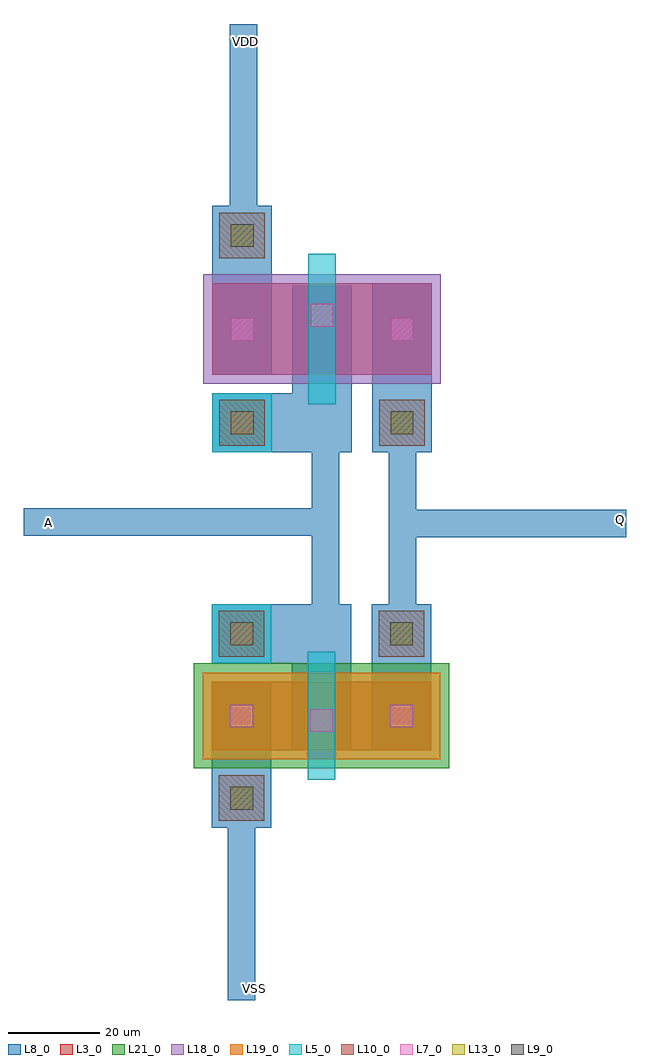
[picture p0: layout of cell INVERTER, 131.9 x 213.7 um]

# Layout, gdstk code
import gdstk
lib = gdstk.Library(unit=1e-6, precision=1e-07)
def R(c, l, rs):  # rectangles x0, y0, x1, y1
    for r in rs: c.add(gdstk.rectangle(r[:2], r[2:], *l))
L3_0 = (3, 0)
L5_0 = (5, 0)
L7_0 = (7, 0)
L8_0 = (8, 0)
L9_0 = (9, 0)
L10_0 = (10, 0)
L13_0 = (13, 0)
L18_0 = (18, 0)
L19_0 = (19, 0)
L21_0 = (21, 0)

dcont = lib.new_cell('dcont')
R(dcont, L3_0, [(-6.5,-6.5,6.5,6.5)])
R(dcont, L7_0, [(-2.5,-2.5,2.5,2.5)])
R(dcont, L8_0, [(-6.5,-6.5,6.5,6.5)])

pcont = lib.new_cell('pcont')
R(pcont, L5_0, [(-6.5,-6.5,6.5,6.5)])
R(pcont, L7_0, [(-2.5,-2.5,2.5,2.5)])
R(pcont, L8_0, [(-6.5,-6.5,6.5,6.5)])
R(pcont, L13_0, [(-2.5,-2.5,2.5,2.5)])

via = lib.new_cell('Via')
R(via, L8_0, [(-6.5,-6.5,6.5,6.5)])
R(via, L9_0, [(-2.5,-2.5,2.5,2.5)])
R(via, L10_0, [(-5,-5,5,5)])
R(via, L13_0, [(-2.5,-2.5,2.5,2.5)])

pch_1 = lib.new_cell('Pch$1')
R(pch_1, L3_0, [(0,17,48,37)])
R(pch_1, L18_0, [(-2,15,50,39)])
pch_1.add(gdstk.FlexPath([(6.5,17),(6.5,37)], 13, ends="flush", simple_path=True, layer=8, datatype=0))  # L8_0
pch_1.add(gdstk.FlexPath([(41.5,17),(41.5,37)], 13, ends="flush", simple_path=True, layer=8, datatype=0))  # L8_0
pch_1.add(gdstk.FlexPath([(6.5,6.5),(24,6.5),(24,10.5)], 13, ends="flush", simple_path=True, layer=8, datatype=0))  # L8_0
pch_1.add(gdstk.FlexPath([(6.5,33),(6.5,47.5)], 13, ends="flush", simple_path=True, layer=8, datatype=0))  # L8_0
pch_1.add(gdstk.FlexPath([(24,6.5),(24,36.5)], 13, ends="flush", simple_path=True, layer=8, datatype=0))  # L8_0
pch_1.add(gdstk.FlexPath([(41.5,9),(41.5,21)], 13, ends="flush", simple_path=True, layer=8, datatype=0))  # L8_0
pch_1.add(gdstk.FlexPath([(24,17),(24,37)], 6, ends=(6.5, 6.5), simple_path=True, layer=5, datatype=0))  # L5_0
pch_1.add(gdstk.Reference(dcont, (6.5,27)))
pch_1.add(gdstk.Reference(dcont, (41.5,27)))
pch_1.add(gdstk.Reference(pcont, (6.5,6.5)))
pch_1.add(gdstk.Reference(via, (6.5,6.5)))
pch_1.add(gdstk.Reference(via, (6.5,47.5)))
pch_1.add(gdstk.Reference(dcont, (24,30)))
pch_1.add(gdstk.Reference(via, (41.5,6.5)))

nch = lib.new_cell('Nch')
R(nch, L3_0, [(0,17,48,32)])
R(nch, L19_0, [(-2,15,50,34)])
R(nch, L21_0, [(-4,13,52,36)])
nch.add(gdstk.FlexPath([(6.5,17),(6.5,32)], 13, ends="flush", simple_path=True, layer=8, datatype=0))  # L8_0
nch.add(gdstk.FlexPath([(41.5,17),(41.5,32)], 13, ends="flush", simple_path=True, layer=8, datatype=0))  # L8_0
nch.add(gdstk.FlexPath([(6.5,42.5),(24,42.5),(24,38.5)], 13, ends="flush", simple_path=True, layer=8, datatype=0))  # L8_0
nch.add(gdstk.FlexPath([(6.5,6.5),(6.5,21)], 13, ends="flush", simple_path=True, layer=8, datatype=0))  # L8_0
nch.add(gdstk.FlexPath([(24,17),(24,42.5)], 13, ends="flush", simple_path=True, layer=8, datatype=0))  # L8_0
nch.add(gdstk.FlexPath([(41.5,28),(41.5,41.5)], 13, ends="flush", simple_path=True, layer=8, datatype=0))  # L8_0
nch.add(gdstk.FlexPath([(24,17),(24,32)], 6, ends=(6.5, 6.5), simple_path=True, layer=5, datatype=0))  # L5_0
nch.add(gdstk.Reference(dcont, (6.5,24.5)))
nch.add(gdstk.Reference(dcont, (41.5,24.5)))
nch.add(gdstk.Reference(pcont, (6.5,42.5)))
nch.add(gdstk.Reference(via, (6.5,42.5)))
nch.add(gdstk.Reference(via, (6.5,6.5)))
nch.add(gdstk.Reference(dcont, (24,23.5)))
nch.add(gdstk.Reference(via, (41.5,42.5)))

inverter = lib.new_cell('INVERTER')
inverter.add(gdstk.FlexPath([(119.4,71.4),(119.4,28.2)], 6, ends="flush", simple_path=True, layer=8, datatype=0))  # L8_0
inverter.add(gdstk.FlexPath([(136.2,72.7),(136.2,24.3),(136.2,24.3),(136.2,24.3)], 6, ends="flush", simple_path=True, layer=8, datatype=0))  # L8_0
inverter.add(gdstk.FlexPath([(101.4,112.6),(101.4,159.8)], 6, ends="flush", simple_path=True, layer=8, datatype=0))  # L8_0
inverter.add(gdstk.FlexPath([(136.5,50.4),(185.2,50.4)], 6, ends="flush", simple_path=True, layer=8, datatype=0))  # L8_0
inverter.add(gdstk.FlexPath([(119.1,50.8),(53.3,50.8)], 6, ends="flush", simple_path=True, layer=8, datatype=0))  # L8_0
inverter.add(gdstk.FlexPath([(101,-10.7),(101,-53.9)], 6, ends="flush", simple_path=True, layer=8, datatype=0))  # L8_0
inverter.add(gdstk.Reference(pch_1, (94.6,66)))
inverter.add(gdstk.Reference(nch, (94.5,-16.2)))
inverter.add(gdstk.Label('VDD', (101.8,156), layer=8, texttype=0))
inverter.add(gdstk.Label('A', (58.6,50.7), layer=8, texttype=0))
inverter.add(gdstk.Label('Q', (183.9,51.3), layer=8, texttype=0))
inverter.add(gdstk.Label('VSS', (103.9,-51.4), layer=8, texttype=0))

lib.write_gds('INVERTER.gds')
